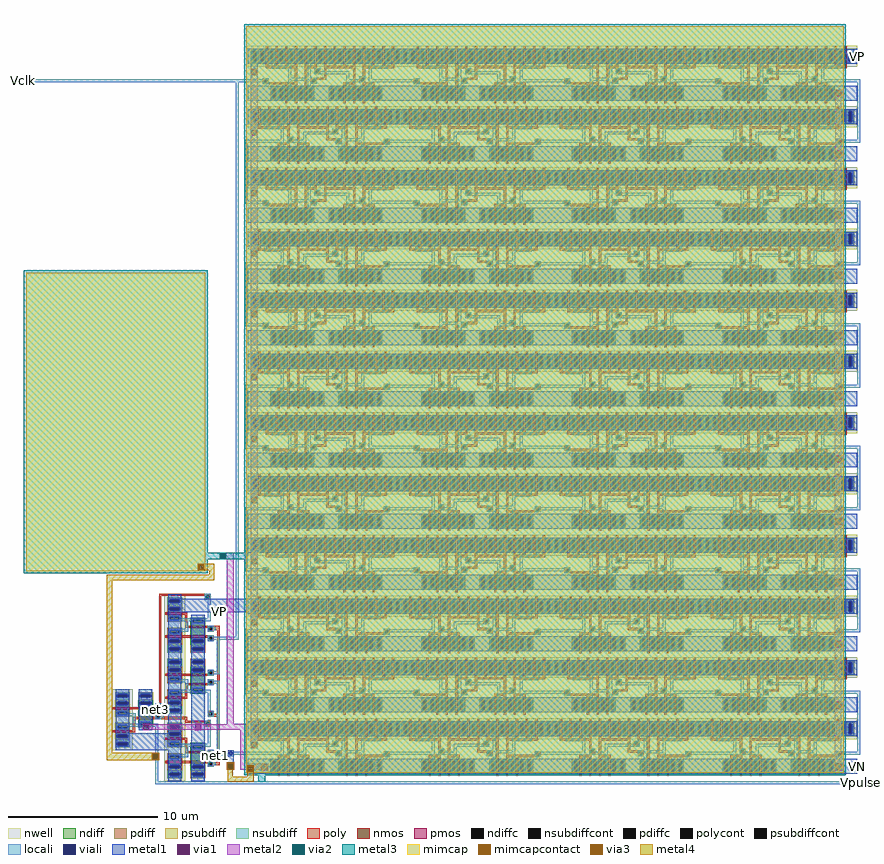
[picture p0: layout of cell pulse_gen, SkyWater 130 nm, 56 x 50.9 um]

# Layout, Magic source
magic
tech sky130A
<< poly >>
rect 6280 1075 6320 1090
rect 6240 720 6280 730
rect 6240 700 6250 720
rect 6270 700 6280 720
rect 6240 690 6280 700
rect 5885 530 5890 545
rect 6275 480 6320 500
rect 5890 465 5895 480
rect 6240 250 6280 260
rect 6240 230 6250 250
rect 6270 230 6280 250
rect 6240 220 6280 230
<< polycont >>
rect 6250 700 6270 720
rect 6250 230 6270 250
<< locali >>
rect 5010 4730 6490 4750
rect 6430 1015 6450 4730
rect 6320 995 6450 1015
rect 6240 720 6280 730
rect 6240 700 6250 720
rect 6270 700 6295 720
rect 6240 690 6280 700
rect 6240 250 6280 260
rect 5870 225 5910 235
rect 5870 205 5880 225
rect 5900 205 5910 225
rect 6240 230 6250 250
rect 6270 240 6280 250
rect 6375 245 6415 255
rect 6375 240 6385 245
rect 6270 230 6300 240
rect 6240 220 6300 230
rect 6320 225 6385 240
rect 6405 225 6510 245
rect 6320 220 6415 225
rect 6375 215 6415 220
rect 5870 195 5910 205
rect 5890 50 5910 60
rect 5890 30 10610 50
<< viali >>
rect 5880 205 5900 225
rect 6385 225 6405 245
<< metal1 >>
rect 10585 4895 10590 4915
rect 6320 1575 6365 1580
rect 6320 1540 6325 1575
rect 6360 1540 6365 1575
rect 6320 1535 6365 1540
rect 6065 1180 6535 1270
rect 6375 245 6415 255
rect 5865 235 5915 240
rect 5865 195 5870 235
rect 5910 195 5915 235
rect 5865 190 5915 195
rect 6375 225 6385 245
rect 6405 225 6415 245
rect 6375 175 6415 225
rect 6370 170 6420 175
rect 6370 130 6375 170
rect 6415 130 6420 170
rect 6370 125 6420 130
rect 10580 130 10590 160
<< via1 >>
rect 6325 1540 6360 1575
rect 5870 225 5910 235
rect 5870 205 5880 225
rect 5880 205 5900 225
rect 5900 205 5910 225
rect 5870 195 5910 205
rect 6375 130 6415 170
rect 6600 125 6640 165
<< metal2 >>
rect 6320 1575 6415 1580
rect 6320 1540 6325 1575
rect 6360 1540 6415 1575
rect 6320 1535 6415 1540
rect 6370 435 6415 1535
rect 6370 430 6500 435
rect 6155 395 6500 430
rect 5865 235 5915 240
rect 5865 195 5870 235
rect 5910 195 5915 235
rect 5865 190 5915 195
rect 6370 170 6420 175
rect 6370 130 6375 170
rect 6415 130 6420 170
rect 6370 125 6420 130
rect 6460 165 6500 395
rect 6590 165 6645 170
rect 6460 125 6600 165
rect 6640 125 6645 165
rect 6590 120 6645 125
<< via2 >>
rect 6325 1540 6360 1575
rect 5870 195 5910 235
rect 6375 130 6415 170
<< metal3 >>
rect 6240 1575 6510 1580
rect 6285 1540 6325 1575
rect 6360 1540 6510 1575
rect 6285 1535 6510 1540
rect 5865 235 5915 240
rect 5865 195 5870 235
rect 5910 195 5915 235
rect 5865 190 5915 195
rect 6370 170 6420 175
rect 6370 130 6375 170
rect 6415 130 6420 170
rect 6370 125 6420 130
rect 6600 125 6640 165
<< via3 >>
rect 5870 195 5910 235
rect 6375 130 6415 170
<< mimcap >>
rect 6600 125 6640 165
<< metal4 >>
rect 6250 1430 6285 1465
rect 5565 1395 6285 1430
rect 5565 240 5600 1395
rect 5565 235 5915 240
rect 5565 195 5870 235
rect 5910 195 5915 235
rect 5565 190 5915 195
rect 6370 170 6420 175
rect 6370 130 6375 170
rect 6415 130 6420 170
rect 6370 125 6420 130
rect 6375 80 6410 125
rect 6375 45 6505 80
use xor  xor_0
transform 0 -1 6275 1 0 545
box -495 -45 760 675
use 4pf_cap  4pf_cap_0
transform 1 0 6730 0 1 845
box -245 -800 3785 4275
use time_delay_2  time_delay_2_0
transform 1 0 6520 0 1 4745
box -30 -4660 4090 230
use 500fF_cap  500fF_cap_0
transform 0 -1 6225 1 0 1455
box -15 -60 2015 1215
<< labels >>
rlabel locali 5010 4740 5010 4740 7 Vclk
port 1 w
rlabel locali 10610 40 10610 40 3 Vpulse
port 2 e
rlabel metal1 10590 145 10590 145 3 VN
port 3 e
rlabel metal1 10590 4905 10590 4905 3 VP
port 4 e
rlabel metal1 6320 1185 6320 1185 5 VP
rlabel poly 5890 530 5890 530 5 net3
rlabel poly 5895 465 5895 465 5 net2
rlabel locali 6295 220 6295 220 5 net1
rlabel locali 6430 225 6430 225 5 net1
<< end >>

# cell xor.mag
magic
tech sky130A
<< nwell >>
rect -85 300 45 325
rect -90 210 45 300
rect -85 185 45 210
<< poly >>
rect 25 345 760 360
rect -80 185 -65 345
rect -105 170 -65 185
rect -105 55 -90 170
rect 745 55 760 345
rect -130 45 -90 55
rect -130 25 -120 45
rect -100 25 -90 45
rect 720 45 760 55
rect -130 15 -90 25
rect -65 25 -25 35
rect -65 5 -55 25
rect -35 5 -25 25
rect 720 25 730 45
rect 750 25 760 45
rect 720 15 760 25
rect -65 -5 -25 5
rect -390 -30 -370 -5
rect 515 -30 545 -5
rect -390 -45 545 -30
<< polycont >>
rect -120 25 -100 45
rect -55 5 -35 25
rect 730 25 750 45
<< locali >>
rect -495 365 -290 385
rect -130 45 -90 55
rect -130 25 -120 45
rect -100 25 -90 45
rect 720 45 760 55
rect -130 15 -90 25
rect -65 25 -25 35
rect -65 5 -55 25
rect -35 5 -25 25
rect 720 25 730 45
rect 750 25 760 45
rect 720 15 760 25
rect -65 -5 -25 5
rect -325 -25 -305 -20
rect 155 -25 175 -20
rect -325 -45 175 -25
rect 220 -25 240 5
rect 450 -25 470 5
rect 220 -45 470 -25
<< metal1 >>
rect -290 300 -175 560
rect -90 210 -60 300
rect -495 55 -485 145
rect -220 115 70 145
rect -220 80 -150 115
rect -115 80 70 115
rect -220 55 70 80
<< via1 >>
rect -150 430 -115 465
rect -150 80 -115 115
<< metal2 >>
rect -155 465 -110 470
rect -155 430 -150 465
rect -115 430 -110 465
rect -155 425 -110 430
rect -150 120 -115 425
rect -155 115 -110 120
rect -155 80 -150 115
rect -115 80 -110 115
rect -155 75 -110 80
use nandgate  nandgate_1
transform 1 0 370 0 1 -20
box -25 15 385 345
use nandgate  nandgate_3
transform -1 0 95 0 1 330
box -25 15 385 345
use nandgate  nandgate_0
transform -1 0 320 0 1 -20
box -25 15 385 345
use nandgate  nandgate_2
transform 1 0 -470 0 1 -20
box -25 15 385 345
<< end >>

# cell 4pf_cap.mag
magic
tech sky130A
<< metal3 >>
rect -245 -755 3785 4275
rect -150 -800 -105 -755
<< mimcap >>
rect -230 -695 3770 4260
rect -230 -730 -220 -695
rect -185 -730 3770 -695
rect -230 -740 3770 -730
<< mimcapcontact >>
rect -220 -730 -185 -695
<< metal4 >>
rect -225 -695 -180 -690
rect -225 -730 -220 -695
rect -185 -730 -180 -695
rect -225 -800 -180 -730
<< labels >>
rlabel metal4 -205 -800 -205 -800 5 top
rlabel metal3 -125 -800 -125 -800 5 bot
<< end >>

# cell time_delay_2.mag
magic
tech sky130A
<< nwell >>
rect 1015 115 1025 205
rect 2020 115 2040 205
rect 10 -315 55 -295
rect 10 -720 55 -700
rect 10 -1125 55 -1105
rect 10 -1530 55 -1510
rect 10 -1950 55 -1930
rect 10 -2365 55 -2345
rect 10 -2775 55 -2755
rect 10 -3185 55 -3165
rect 10 -3595 55 -3575
rect 10 -4005 55 -3985
rect 10 -4415 55 -4395
<< pdiff >>
rect 1015 115 1020 205
rect 2020 115 2030 205
<< nsubdiff >>
rect 1020 115 1025 205
rect 2030 115 2040 205
<< locali >>
rect 1015 115 1025 205
rect 2020 115 2040 205
rect 3035 115 3045 205
rect -30 -15 -5 5
rect 1015 -290 1025 -200
rect 2025 -290 2035 -200
rect 3035 -290 3045 -200
rect -30 -830 -10 -400
rect 4070 -420 4090 5
rect 1005 -700 1035 -610
rect 2015 -700 2045 -610
rect 3030 -700 3060 -610
rect 1005 -1110 1035 -1020
rect 2015 -1110 2045 -1020
rect 3025 -1110 3055 -1020
rect -30 -1650 -10 -1220
rect 4070 -1240 4090 -810
rect 1010 -1520 1040 -1430
rect 2020 -1520 2050 -1430
rect 3025 -1520 3055 -1430
rect 1010 -1930 1040 -1840
rect 2015 -1930 2045 -1840
rect 3025 -1930 3055 -1840
rect -30 -2470 -10 -2040
rect 4070 -2060 4090 -1630
rect 1005 -2340 1035 -2250
rect 2020 -2340 2050 -2250
rect 3030 -2340 3060 -2250
rect 1010 -2750 1040 -2660
rect 2020 -2750 2050 -2660
rect 3030 -2750 3060 -2660
rect -30 -3290 -10 -2860
rect 4070 -2880 4090 -2450
rect 1010 -3160 1040 -3070
rect 2020 -3160 2050 -3070
rect 3030 -3160 3060 -3070
rect 1010 -3570 1040 -3480
rect 2020 -3570 2050 -3480
rect 3025 -3570 3055 -3480
rect -30 -4110 -10 -3680
rect 4070 -3700 4090 -3270
rect 1010 -3980 1040 -3890
rect 2020 -3980 2050 -3890
rect 3025 -3980 3055 -3890
rect 1010 -4390 1040 -4300
rect 2020 -4390 2050 -4300
rect 3030 -4390 3060 -4300
rect -10 -4520 0 -4500
rect 4070 -4520 4090 -4090
<< metal1 >>
rect -10 110 -5 210
rect 1015 115 1025 205
rect 2020 115 2040 205
rect 10 70 55 115
rect 10 35 15 70
rect 50 35 55 70
rect 10 30 55 35
rect -10 -140 0 -40
rect 10 -335 55 -295
rect 10 -370 15 -335
rect 50 -370 55 -335
rect 10 -375 55 -370
rect 3920 -475 3970 -470
rect 3920 -520 3925 -475
rect 3965 -520 3970 -475
rect 3920 -525 3970 -520
rect 10 -740 55 -700
rect 10 -775 15 -740
rect 50 -775 55 -740
rect 10 -780 55 -775
rect 3920 -925 3925 -880
rect 3965 -925 3970 -880
rect 3920 -930 3970 -925
rect 10 -1145 55 -1105
rect 10 -1180 15 -1145
rect 50 -1180 55 -1145
rect 10 -1185 55 -1180
rect 3920 -1330 3925 -1285
rect 3965 -1330 3970 -1285
rect 3920 -1335 3970 -1330
rect 10 -1550 55 -1510
rect 10 -1585 15 -1550
rect 50 -1585 55 -1550
rect 10 -1590 55 -1585
rect 3920 -1735 3925 -1690
rect 3965 -1735 3970 -1690
rect 3920 -1740 3970 -1735
rect 10 -1970 55 -1930
rect 10 -2005 15 -1970
rect 50 -2005 55 -1970
rect 10 -2010 55 -2005
rect 3920 -2140 3925 -2095
rect 3965 -2140 3970 -2095
rect 3920 -2145 3970 -2140
rect 10 -2385 55 -2345
rect 10 -2420 15 -2385
rect 50 -2420 55 -2385
rect 10 -2425 55 -2420
rect 3920 -2560 3925 -2515
rect 3965 -2560 3970 -2515
rect 3920 -2565 3970 -2560
rect 10 -2795 55 -2755
rect 10 -2830 15 -2795
rect 50 -2830 55 -2795
rect 10 -2835 55 -2830
rect 3920 -2980 3925 -2935
rect 3965 -2980 3970 -2935
rect 3920 -2985 3970 -2980
rect 10 -3205 55 -3165
rect 10 -3240 15 -3205
rect 50 -3240 55 -3205
rect 10 -3245 55 -3240
rect 3920 -3390 3925 -3345
rect 3965 -3390 3970 -3345
rect 3920 -3395 3970 -3390
rect 10 -3615 55 -3575
rect 10 -3650 15 -3615
rect 50 -3650 55 -3615
rect 10 -3655 55 -3650
rect 3920 -3800 3925 -3755
rect 3965 -3800 3970 -3755
rect 3920 -3805 3970 -3800
rect 10 -4025 55 -3985
rect 10 -4060 15 -4025
rect 50 -4060 55 -4025
rect 10 -4065 55 -4060
rect 3920 -4210 3925 -4165
rect 3965 -4210 3970 -4165
rect 3920 -4215 3970 -4210
rect 10 -4435 55 -4395
rect 10 -4470 15 -4435
rect 50 -4470 55 -4435
rect 10 -4475 55 -4470
rect 3920 -4620 3925 -4575
rect 3965 -4620 3970 -4575
rect 3920 -4625 3970 -4620
<< via1 >>
rect 15 35 50 70
rect 3925 -110 3965 -70
rect 15 -370 50 -335
rect 3925 -520 3965 -475
rect 15 -775 50 -740
rect 3925 -925 3965 -880
rect 15 -1180 50 -1145
rect 3925 -1330 3965 -1285
rect 15 -1585 50 -1550
rect 3925 -1735 3965 -1690
rect 15 -2005 50 -1970
rect 3925 -2140 3965 -2095
rect 15 -2420 50 -2385
rect 3925 -2560 3965 -2515
rect 15 -2830 50 -2795
rect 3925 -2980 3965 -2935
rect 15 -3240 50 -3205
rect 3925 -3390 3965 -3345
rect 15 -3650 50 -3615
rect 3925 -3800 3965 -3755
rect 15 -4060 50 -4025
rect 3925 -4210 3965 -4165
rect 15 -4470 50 -4435
rect 3925 -4620 3965 -4575
<< metal2 >>
rect 10 70 55 75
rect 10 35 15 70
rect 50 35 55 70
rect 10 -335 55 35
rect 3920 -70 3970 -65
rect 3920 -110 3925 -70
rect 3965 -110 3970 -70
rect 3920 -115 3970 -110
rect 10 -370 15 -335
rect 50 -370 55 -335
rect 10 -740 55 -370
rect 3925 -470 3965 -115
rect 3920 -475 3970 -470
rect 3920 -520 3925 -475
rect 3965 -520 3970 -475
rect 3920 -525 3970 -520
rect 3925 -560 3965 -525
rect 10 -775 15 -740
rect 50 -775 55 -740
rect 10 -1145 55 -775
rect 10 -1180 15 -1145
rect 50 -1180 55 -1145
rect 10 -1550 55 -1180
rect 10 -1585 15 -1550
rect 50 -1585 55 -1550
rect 10 -1970 55 -1585
rect 10 -2005 15 -1970
rect 50 -2005 55 -1970
rect 10 -2385 55 -2005
rect 10 -2420 15 -2385
rect 50 -2420 55 -2385
rect 10 -2795 55 -2420
rect 10 -2830 15 -2795
rect 50 -2830 55 -2795
rect 10 -3205 55 -2830
rect 10 -3240 15 -3205
rect 50 -3240 55 -3205
rect 10 -3615 55 -3240
rect 10 -3650 15 -3615
rect 50 -3650 55 -3615
rect 10 -4025 55 -3650
rect 10 -4060 15 -4025
rect 50 -4060 55 -4025
rect 10 -4435 55 -4060
rect 10 -4470 15 -4435
rect 50 -4470 55 -4435
rect 10 -4475 55 -4470
rect 3920 -880 3965 -560
rect 3920 -925 3925 -880
rect 3965 -925 3970 -880
rect 3920 -930 3970 -925
rect 3920 -1285 3965 -930
rect 3920 -1330 3925 -1285
rect 3965 -1330 3970 -1285
rect 3920 -1335 3970 -1330
rect 3920 -1690 3965 -1335
rect 3920 -1735 3925 -1690
rect 3965 -1735 3970 -1690
rect 3920 -1740 3970 -1735
rect 3920 -2095 3965 -1740
rect 3920 -2140 3925 -2095
rect 3965 -2140 3970 -2095
rect 3920 -2145 3970 -2140
rect 3920 -2515 3965 -2145
rect 3920 -2560 3925 -2515
rect 3965 -2560 3970 -2515
rect 3920 -2565 3970 -2560
rect 3920 -2935 3965 -2565
rect 3920 -2980 3925 -2935
rect 3965 -2980 3970 -2935
rect 3920 -2985 3970 -2980
rect 3920 -3345 3965 -2985
rect 3920 -3390 3925 -3345
rect 3965 -3390 3970 -3345
rect 3920 -3395 3970 -3390
rect 3920 -3755 3965 -3395
rect 3920 -3800 3925 -3755
rect 3965 -3800 3970 -3755
rect 3920 -3805 3970 -3800
rect 3920 -4165 3965 -3805
rect 3920 -4210 3925 -4165
rect 3965 -4210 3970 -4165
rect 3920 -4215 3970 -4210
rect 3920 -4575 3965 -4215
rect 3920 -4620 3925 -4575
rect 3965 -4620 3970 -4575
rect 3920 -4625 3970 -4620
use schmitt_inverter  schmitt_inverter_47
transform -1 0 920 0 1 -4645
box -120 -15 930 370
use schmitt_inverter  schmitt_inverter_46
transform -1 0 1930 0 1 -4645
box -120 -15 930 370
use schmitt_inverter  schmitt_inverter_45
transform -1 0 2940 0 1 -4645
box -120 -15 930 370
use schmitt_inverter  schmitt_inverter_44
transform -1 0 3950 0 1 -4645
box -120 -15 930 370
use schmitt_inverter  schmitt_inverter_40
transform 1 0 110 0 1 -4235
box -120 -15 930 370
use schmitt_inverter  schmitt_inverter_41
transform 1 0 1120 0 1 -4235
box -120 -15 930 370
use schmitt_inverter  schmitt_inverter_42
transform 1 0 2130 0 1 -4235
box -120 -15 930 370
use schmitt_inverter  schmitt_inverter_43
transform 1 0 3140 0 1 -4235
box -120 -15 930 370
use schmitt_inverter  schmitt_inverter_39
transform -1 0 920 0 1 -3825
box -120 -15 930 370
use schmitt_inverter  schmitt_inverter_38
transform -1 0 1930 0 1 -3825
box -120 -15 930 370
use schmitt_inverter  schmitt_inverter_37
transform -1 0 2940 0 1 -3825
box -120 -15 930 370
use schmitt_inverter  schmitt_inverter_36
transform -1 0 3950 0 1 -3825
box -120 -15 930 370
use schmitt_inverter  schmitt_inverter_32
transform 1 0 110 0 1 -3415
box -120 -15 930 370
use schmitt_inverter  schmitt_inverter_33
transform 1 0 1120 0 1 -3415
box -120 -15 930 370
use schmitt_inverter  schmitt_inverter_34
transform 1 0 2130 0 1 -3415
box -120 -15 930 370
use schmitt_inverter  schmitt_inverter_35
transform 1 0 3140 0 1 -3415
box -120 -15 930 370
use schmitt_inverter  schmitt_inverter_31
transform -1 0 920 0 1 -3005
box -120 -15 930 370
use schmitt_inverter  schmitt_inverter_30
transform -1 0 1930 0 1 -3005
box -120 -15 930 370
use schmitt_inverter  schmitt_inverter_29
transform -1 0 2940 0 1 -3005
box -120 -15 930 370
use schmitt_inverter  schmitt_inverter_28
transform -1 0 3950 0 1 -3005
box -120 -15 930 370
use schmitt_inverter  schmitt_inverter_24
transform 1 0 110 0 1 -2595
box -120 -15 930 370
use schmitt_inverter  schmitt_inverter_25
transform 1 0 1120 0 1 -2595
box -120 -15 930 370
use schmitt_inverter  schmitt_inverter_26
transform 1 0 2130 0 1 -2595
box -120 -15 930 370
use schmitt_inverter  schmitt_inverter_27
transform 1 0 3140 0 1 -2595
box -120 -15 930 370
use schmitt_inverter  schmitt_inverter_23
transform -1 0 920 0 1 -2185
box -120 -15 930 370
use schmitt_inverter  schmitt_inverter_22
transform -1 0 1930 0 1 -2185
box -120 -15 930 370
use schmitt_inverter  schmitt_inverter_21
transform -1 0 2940 0 1 -2185
box -120 -15 930 370
use schmitt_inverter  schmitt_inverter_20
transform -1 0 3950 0 1 -2185
box -120 -15 930 370
use schmitt_inverter  schmitt_inverter_16
transform 1 0 110 0 1 -1775
box -120 -15 930 370
use schmitt_inverter  schmitt_inverter_17
transform 1 0 1120 0 1 -1775
box -120 -15 930 370
use schmitt_inverter  schmitt_inverter_18
transform 1 0 2130 0 1 -1775
box -120 -15 930 370
use schmitt_inverter  schmitt_inverter_19
transform 1 0 3140 0 1 -1775
box -120 -15 930 370
use schmitt_inverter  schmitt_inverter_15
transform -1 0 920 0 1 -1365
box -120 -15 930 370
use schmitt_inverter  schmitt_inverter_14
transform -1 0 1930 0 1 -1365
box -120 -15 930 370
use schmitt_inverter  schmitt_inverter_13
transform -1 0 2940 0 1 -1365
box -120 -15 930 370
use schmitt_inverter  schmitt_inverter_12
transform -1 0 3950 0 1 -1365
box -120 -15 930 370
use schmitt_inverter  schmitt_inverter_8
transform 1 0 110 0 1 -955
box -120 -15 930 370
use schmitt_inverter  schmitt_inverter_9
transform 1 0 1120 0 1 -955
box -120 -15 930 370
use schmitt_inverter  schmitt_inverter_10
transform 1 0 2130 0 1 -955
box -120 -15 930 370
use schmitt_inverter  schmitt_inverter_11
transform 1 0 3140 0 1 -955
box -120 -15 930 370
use schmitt_inverter  schmitt_inverter_7
transform -1 0 920 0 1 -545
box -120 -15 930 370
use schmitt_inverter  schmitt_inverter_6
transform -1 0 1930 0 1 -545
box -120 -15 930 370
use schmitt_inverter  schmitt_inverter_5
transform -1 0 2940 0 1 -545
box -120 -15 930 370
use schmitt_inverter  schmitt_inverter_4
transform -1 0 3950 0 1 -545
box -120 -15 930 370
use schmitt_inverter  schmitt_inverter_0
transform 1 0 110 0 1 -140
box -120 -15 930 370
use schmitt_inverter  schmitt_inverter_1
transform 1 0 1120 0 1 -140
box -120 -15 930 370
use schmitt_inverter  schmitt_inverter_2
transform 1 0 2130 0 1 -140
box -120 -15 930 370
use schmitt_inverter  schmitt_inverter_3
transform 1 0 3140 0 1 -140
box -120 -15 930 370
<< labels >>
rlabel locali -30 -5 -30 -5 7 A
port 2 w
rlabel metal1 -10 155 -10 155 7 VP
rlabel metal1 -10 -95 -10 -95 7 VN
port 3 w
rlabel locali -10 -4510 -10 -4510 7 Z
port 4 w
<< end >>

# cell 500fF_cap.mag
magic
tech sky130A
<< metal3 >>
rect -15 -15 2015 1215
rect 80 -60 120 -15
<< mimcap >>
rect 0 45 2000 1200
rect 0 10 10 45
rect 45 10 2000 45
rect 0 0 2000 10
<< mimcapcontact >>
rect 10 10 45 45
<< metal4 >>
rect 5 45 50 50
rect 5 10 10 45
rect 45 10 50 45
rect 5 -60 50 10
<< labels >>
rlabel metal4 25 -60 25 -60 5 top
rlabel metal3 100 -60 100 -60 5 bot
<< end >>

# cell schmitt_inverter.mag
magic
tech sky130A
<< nwell >>
rect -120 230 930 370
<< nmos >>
rect 130 0 145 100
rect 195 0 210 100
rect 260 0 275 100
rect 520 0 535 100
rect 585 0 600 100
rect 650 0 665 100
rect 715 0 730 100
<< pmos >>
rect 0 250 15 350
rect 65 250 80 350
rect 130 250 145 350
rect 195 250 210 350
rect 260 250 275 350
rect 325 250 340 350
rect 390 250 405 350
rect 455 250 470 350
rect 520 250 535 350
rect 585 250 600 350
rect 650 250 665 350
rect 715 250 730 350
rect 780 250 795 350
rect 845 250 860 350
<< ndiff >>
rect 80 85 130 100
rect 80 15 95 85
rect 115 15 130 85
rect 80 0 130 15
rect 145 85 195 100
rect 145 15 160 85
rect 180 15 195 85
rect 145 0 195 15
rect 210 85 260 100
rect 210 15 225 85
rect 245 15 260 85
rect 210 0 260 15
rect 275 85 325 100
rect 275 15 290 85
rect 310 15 325 85
rect 275 0 325 15
rect 470 85 520 100
rect 470 15 485 85
rect 505 15 520 85
rect 470 0 520 15
rect 535 85 585 100
rect 535 15 550 85
rect 570 15 585 85
rect 535 0 585 15
rect 600 85 650 100
rect 600 15 615 85
rect 635 15 650 85
rect 600 0 650 15
rect 665 85 715 100
rect 665 15 680 85
rect 700 15 715 85
rect 665 0 715 15
rect 730 85 780 100
rect 730 15 745 85
rect 765 15 780 85
rect 730 0 780 15
<< pdiff >>
rect -50 335 0 350
rect -50 265 -35 335
rect -15 265 0 335
rect -50 250 0 265
rect 15 335 65 350
rect 15 265 30 335
rect 50 265 65 335
rect 15 250 65 265
rect 80 335 130 350
rect 80 265 95 335
rect 115 265 130 335
rect 80 250 130 265
rect 145 335 195 350
rect 145 265 160 335
rect 180 265 195 335
rect 145 250 195 265
rect 210 335 260 350
rect 210 265 225 335
rect 245 265 260 335
rect 210 250 260 265
rect 275 335 325 350
rect 275 265 290 335
rect 310 265 325 335
rect 275 250 325 265
rect 340 335 390 350
rect 340 265 355 335
rect 375 265 390 335
rect 340 250 390 265
rect 405 335 455 350
rect 405 265 420 335
rect 440 265 455 335
rect 405 250 455 265
rect 470 335 520 350
rect 470 265 485 335
rect 505 265 520 335
rect 470 250 520 265
rect 535 335 585 350
rect 535 265 550 335
rect 570 265 585 335
rect 535 250 585 265
rect 600 335 650 350
rect 600 265 615 335
rect 635 265 650 335
rect 600 250 650 265
rect 665 335 715 350
rect 665 265 680 335
rect 700 265 715 335
rect 665 250 715 265
rect 730 335 780 350
rect 730 265 745 335
rect 765 265 780 335
rect 730 250 780 265
rect 795 335 845 350
rect 795 265 810 335
rect 830 265 845 335
rect 795 250 845 265
rect 860 335 910 350
rect 860 265 875 335
rect 895 265 910 335
rect 860 250 910 265
<< ndiffc >>
rect 95 15 115 85
rect 160 15 180 85
rect 225 15 245 85
rect 290 15 310 85
rect 485 15 505 85
rect 550 15 570 85
rect 615 15 635 85
rect 680 15 700 85
rect 745 15 765 85
<< pdiffc >>
rect -35 265 -15 335
rect 30 265 50 335
rect 95 265 115 335
rect 160 265 180 335
rect 225 265 245 335
rect 290 265 310 335
rect 355 265 375 335
rect 420 265 440 335
rect 485 265 505 335
rect 550 265 570 335
rect 615 265 635 335
rect 680 265 700 335
rect 745 265 765 335
rect 810 265 830 335
rect 875 265 895 335
<< psubdiff >>
rect 30 85 80 100
rect 30 15 45 85
rect 65 15 80 85
rect 30 0 80 15
rect 420 85 470 100
rect 420 15 435 85
rect 455 15 470 85
rect 420 0 470 15
<< nsubdiff >>
rect -100 335 -50 350
rect -100 265 -85 335
rect -65 265 -50 335
rect -100 250 -50 265
<< psubdiffcont >>
rect 45 15 65 85
rect 435 15 455 85
<< nsubdiffcont >>
rect -85 265 -65 335
<< poly >>
rect 0 350 15 365
rect 65 350 80 365
rect 130 350 145 365
rect 195 350 210 365
rect 260 350 275 365
rect 325 350 340 365
rect 390 350 405 365
rect 455 350 470 365
rect 520 350 535 365
rect 585 350 600 365
rect 650 350 665 365
rect 715 350 730 365
rect 780 350 795 365
rect 845 350 860 365
rect 0 235 15 250
rect 65 235 80 250
rect 130 235 145 250
rect 195 235 210 250
rect 0 220 210 235
rect -20 140 20 150
rect -20 120 -10 140
rect 10 125 20 140
rect 195 125 210 220
rect 10 120 210 125
rect -20 110 210 120
rect 130 100 145 110
rect 195 100 210 110
rect 260 235 275 250
rect 325 235 340 250
rect 260 220 340 235
rect 390 235 405 250
rect 455 235 470 250
rect 520 235 535 250
rect 585 235 600 250
rect 390 220 600 235
rect 260 100 275 220
rect 325 210 365 220
rect 325 190 335 210
rect 355 190 365 210
rect 325 180 365 190
rect 390 155 405 220
rect 300 145 405 155
rect 300 125 310 145
rect 330 140 405 145
rect 330 125 340 140
rect 585 125 600 220
rect 650 235 665 250
rect 715 235 730 250
rect 780 235 795 250
rect 845 235 860 250
rect 650 220 860 235
rect 650 165 665 220
rect 625 155 665 165
rect 625 135 635 155
rect 655 135 665 155
rect 625 125 665 135
rect 300 115 340 125
rect 520 110 600 125
rect 520 100 535 110
rect 585 100 600 110
rect 650 110 730 125
rect 650 100 665 110
rect 715 100 730 110
rect 130 -15 145 0
rect 195 -15 210 0
rect 260 -15 275 0
rect 520 -15 535 0
rect 585 -15 600 0
rect 650 -15 665 0
rect 715 -15 730 0
<< polycont >>
rect -10 120 10 140
rect 335 190 355 210
rect 310 125 330 145
rect 635 135 655 155
<< locali >>
rect -95 335 -5 345
rect -95 265 -85 335
rect -65 265 -35 335
rect -15 265 -5 335
rect -95 255 -5 265
rect 20 335 60 345
rect 20 265 30 335
rect 50 265 60 335
rect 20 255 60 265
rect 85 335 125 345
rect 85 265 95 335
rect 115 265 125 335
rect 85 255 125 265
rect 150 335 190 345
rect 150 265 160 335
rect 180 265 190 335
rect 150 255 190 265
rect 215 335 255 345
rect 215 265 225 335
rect 245 265 255 335
rect 215 255 255 265
rect 280 335 320 345
rect 280 265 290 335
rect 310 265 320 335
rect 280 255 320 265
rect 345 335 385 345
rect 345 265 355 335
rect 375 265 385 335
rect 345 255 385 265
rect 410 335 450 345
rect 410 265 420 335
rect 440 265 450 335
rect 410 255 450 265
rect 475 335 515 345
rect 475 265 485 335
rect 505 265 515 335
rect 475 255 515 265
rect 540 335 580 345
rect 540 265 550 335
rect 570 265 580 335
rect 540 255 580 265
rect 605 335 645 345
rect 605 265 615 335
rect 635 265 645 335
rect 605 255 645 265
rect 670 335 710 345
rect 670 265 680 335
rect 700 265 710 335
rect 670 255 710 265
rect 735 335 775 345
rect 735 265 745 335
rect 765 265 775 335
rect 735 255 775 265
rect 800 335 840 345
rect 800 265 810 335
rect 830 265 840 335
rect 800 255 840 265
rect 865 335 905 345
rect 865 265 875 335
rect 895 265 905 335
rect 865 255 905 265
rect 40 235 60 255
rect 150 235 170 255
rect 40 215 170 235
rect 150 155 170 215
rect 280 155 300 255
rect 690 235 710 255
rect 800 235 820 255
rect 325 210 365 220
rect 325 190 335 210
rect 355 200 365 210
rect 690 215 820 235
rect 355 190 560 200
rect 325 180 560 190
rect -20 145 20 150
rect -120 140 20 145
rect -120 125 -10 140
rect -20 120 -10 125
rect 10 120 20 140
rect -20 110 20 120
rect 150 145 340 155
rect 150 135 310 145
rect 150 95 170 135
rect 280 125 310 135
rect 330 125 340 145
rect 280 115 340 125
rect 540 145 560 180
rect 625 155 665 165
rect 625 145 635 155
rect 540 135 635 145
rect 655 135 665 155
rect 540 125 665 135
rect 690 145 710 215
rect 690 125 930 145
rect 280 95 300 115
rect 540 95 560 125
rect 690 95 710 125
rect 35 85 125 95
rect 35 15 45 85
rect 65 15 95 85
rect 115 15 125 85
rect 35 5 125 15
rect 150 85 190 95
rect 150 15 160 85
rect 180 15 190 85
rect 150 5 190 15
rect 215 85 255 95
rect 215 15 225 85
rect 245 15 255 85
rect 215 5 255 15
rect 280 85 320 95
rect 280 15 290 85
rect 310 15 320 85
rect 280 5 320 15
rect 425 85 515 95
rect 425 15 435 85
rect 455 15 485 85
rect 505 15 515 85
rect 425 5 515 15
rect 540 85 580 95
rect 540 15 550 85
rect 570 15 580 85
rect 540 5 580 15
rect 605 85 645 95
rect 605 15 615 85
rect 635 15 645 85
rect 605 5 645 15
rect 670 85 710 95
rect 670 15 680 85
rect 700 15 710 85
rect 670 5 710 15
rect 735 85 775 95
rect 735 15 745 85
rect 765 15 775 85
rect 735 5 775 15
<< viali >>
rect -85 265 -65 335
rect -35 265 -15 335
rect 95 265 115 335
rect 225 265 245 335
rect 355 265 375 335
rect 485 265 505 335
rect 615 265 635 335
rect 745 265 765 335
rect 875 265 895 335
rect 45 15 65 85
rect 95 15 115 85
rect 225 15 245 85
rect 435 15 455 85
rect 485 15 505 85
rect 615 15 635 85
rect 745 15 765 85
<< metal1 >>
rect -120 335 930 350
rect -120 265 -85 335
rect -65 265 -35 335
rect -15 265 95 335
rect 115 265 225 335
rect 245 265 355 335
rect 375 265 485 335
rect 505 265 615 335
rect 635 265 745 335
rect 765 265 875 335
rect 895 265 930 335
rect -120 250 930 265
rect -120 85 930 100
rect -120 15 45 85
rect 65 15 95 85
rect 115 15 225 85
rect 245 15 435 85
rect 455 15 485 85
rect 505 15 615 85
rect 635 15 745 85
rect 765 15 930 85
rect -120 0 930 15
<< labels >>
rlabel locali -120 135 -120 135 7 A
port 1 w
rlabel locali 930 135 930 135 3 Z
port 2 e
rlabel metal1 -120 295 -120 295 7 VP
port 3 w
rlabel metal1 -120 50 -120 50 7 VN
port 4 w
<< end >>

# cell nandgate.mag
magic
tech sky130A
<< nwell >>
rect -25 206 385 345
rect -25 205 136 206
<< nmos >>
rect 95 70 110 170
rect 160 70 175 170
<< pmos >>
rect 95 225 110 325
rect 250 225 265 325
<< ndiff >>
rect 45 155 95 170
rect 45 85 60 155
rect 80 85 95 155
rect 45 70 95 85
rect 110 70 160 170
rect 175 155 230 170
rect 175 85 195 155
rect 215 85 230 155
rect 175 70 230 85
<< pdiff >>
rect 45 310 95 325
rect 45 240 60 310
rect 80 240 95 310
rect 45 225 95 240
rect 110 310 160 325
rect 110 240 125 310
rect 145 240 160 310
rect 110 225 160 240
rect 200 310 250 325
rect 200 240 215 310
rect 235 240 250 310
rect 200 225 250 240
rect 265 310 315 325
rect 265 240 280 310
rect 300 240 315 310
rect 265 225 315 240
<< ndiffc >>
rect 60 85 80 155
rect 195 85 215 155
<< pdiffc >>
rect 60 240 80 310
rect 125 240 145 310
rect 215 240 235 310
rect 280 240 300 310
<< psubdiff >>
rect -5 155 45 170
rect -5 85 10 155
rect 30 85 45 155
rect -5 70 45 85
<< nsubdiff >>
rect -5 310 45 325
rect -5 240 10 310
rect 30 240 45 310
rect -5 225 45 240
rect 315 310 365 325
rect 315 240 330 310
rect 350 240 365 310
rect 315 225 365 240
<< psubdiffcont >>
rect 10 85 30 155
<< nsubdiffcont >>
rect 10 240 30 310
rect 330 240 350 310
<< poly >>
rect 95 325 110 340
rect 250 325 265 340
rect 95 170 110 225
rect 250 205 265 225
rect 160 190 265 205
rect 160 170 175 190
rect 95 55 110 70
rect 160 55 175 70
rect 70 45 110 55
rect 70 25 80 45
rect 100 25 110 45
rect 70 15 110 25
rect 135 45 175 55
rect 135 25 145 45
rect 165 25 175 45
rect 135 15 175 25
<< polycont >>
rect 80 25 100 45
rect 145 25 165 45
<< locali >>
rect 0 310 90 320
rect 0 240 10 310
rect 30 240 60 310
rect 80 240 90 310
rect 0 230 90 240
rect 115 310 155 320
rect 115 240 125 310
rect 145 240 155 310
rect 115 230 155 240
rect 135 205 155 230
rect 205 310 245 320
rect 205 240 215 310
rect 235 240 245 310
rect 205 230 245 240
rect 270 310 360 320
rect 270 240 280 310
rect 300 240 330 310
rect 350 240 360 310
rect 270 230 360 240
rect 205 205 225 230
rect 135 185 225 205
rect 205 165 225 185
rect 0 155 90 165
rect 0 85 10 155
rect 30 85 60 155
rect 80 85 90 155
rect 0 75 90 85
rect 185 155 225 165
rect 185 85 195 155
rect 215 85 225 155
rect 185 75 225 85
rect 205 55 225 75
rect 70 45 110 55
rect 70 25 80 45
rect 100 25 110 45
rect 70 15 110 25
rect 135 45 175 55
rect 135 25 145 45
rect 165 25 175 45
rect 205 35 385 55
rect 135 15 175 25
rect 80 0 100 15
rect 145 0 165 15
<< viali >>
rect 10 240 30 310
rect 60 240 80 310
rect 280 240 300 310
rect 330 240 350 310
rect 10 85 30 155
rect 60 85 80 155
<< metal1 >>
rect -25 310 385 320
rect -25 240 10 310
rect 30 240 60 310
rect 80 240 280 310
rect 300 240 330 310
rect 350 240 385 310
rect -25 230 385 240
rect -25 155 250 165
rect -25 85 10 155
rect 30 85 60 155
rect 80 85 250 155
rect -25 75 250 85
<< labels >>
rlabel locali 90 0 90 0 5 A
port 1 s
rlabel locali 155 0 155 0 5 B
port 2 s
rlabel metal1 -25 120 -25 120 7 VN
port 4 w
rlabel metal1 -25 275 -25 275 7 VP
port 5 w
rlabel locali 385 45 385 45 3 Z
port 3 e
<< end >>
